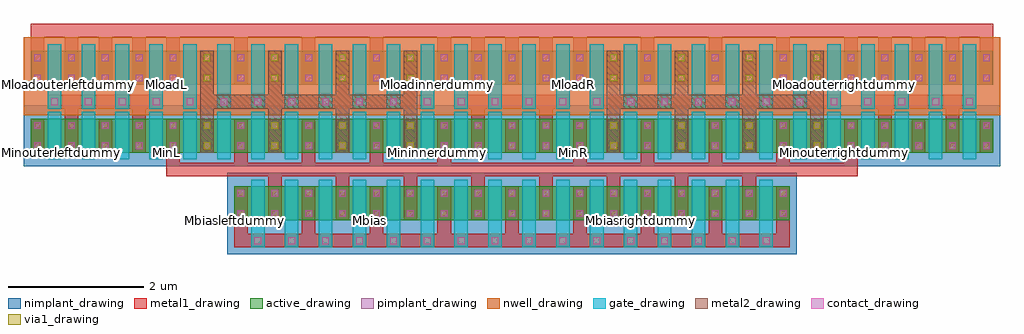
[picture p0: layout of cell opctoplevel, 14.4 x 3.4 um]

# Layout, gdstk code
import gdstk
lib = gdstk.Library(unit=1e-6, precision=1e-09)
def R(c, l, rs):  # rectangles x0, y0, x1, y1
    for r in rs: c.add(gdstk.rectangle(r[:2], r[2:], *l))
def A(c, l, x, y, w, h, nx, ny, dx, dy):  # array of equal rectangles
    R(c, l, [(x+i*dx, y+j*dy, x+i*dx+w, y+j*dy+h) for i in range(nx) for j in range(ny)])
active_drawing = (1, 0)
nwell_drawing = (3, 0)
pimplant_drawing = (4, 0)
nimplant_drawing = (5, 0)
gate_drawing = (6, 0)
contact_drawing = (7, 0)
metal1_drawing = (8, 0)
via1_drawing = (9, 0)
metal2_drawing = (10, 0)

opctoplevel = lib.new_cell('opctoplevel')
A(opctoplevel, active_drawing, -3.25, 1, 2.2, 0.5, 3, 2, 6, 1)
R(opctoplevel, active_drawing, [(-0.25,0,1.95,0.5), (1.75,0,5.95,0.5), (5.75,0,7.95,0.5), (-1.25,1,2.95,1.5), (4.75,1,8.95,1.5), (-1.25,2,2.95,2.5), (4.75,2,8.95,2.5)])
A(opctoplevel, nwell_drawing, -3.35, 1.55, 2.4, 1.15, 3, 1, 6, 0)
R(opctoplevel, nwell_drawing, [(-1.35,1.55,3.05,2.7), (4.65,1.55,9.05,2.7)])
A(opctoplevel, pimplant_drawing, -3.35, 1.55, 2.4, 1.15, 3, 1, 6, 0)
R(opctoplevel, pimplant_drawing, [(-1.35,1.55,3.05,2.7), (4.65,1.55,9.05,2.7)])
A(opctoplevel, nimplant_drawing, -3.35, 0.8, 2.4, 0.9, 3, 1, 6, 0)
R(opctoplevel, nimplant_drawing, [(-0.35,-0.5,2.05,0.7), (1.65,-0.5,6.05,0.7), (5.65,-0.5,8.05,0.7), (-1.35,0.8,3.05,1.7), (4.65,0.8,9.05,1.7)])
A(opctoplevel, gate_drawing, 0, -0.4, 0.2, 1, 16, 1, 0.5, 0)
A(opctoplevel, gate_drawing, -3, 0.9, 0.2, 0.7, 28, 1, 0.5, 0)
A(opctoplevel, gate_drawing, -3, 1.65, 0.2, 0.95, 28, 1, 0.5, 0)
A(opctoplevel, contact_drawing, 0.05, -0.35, 0.1, 0.1, 16, 1, 0.5, 0)
A(opctoplevel, contact_drawing, -0.2, 0.05, 0.1, 0.1, 5, 2, 0.5, 0.3)
A(opctoplevel, contact_drawing, 1.8, 0.05, 0.1, 0.1, 9, 2, 0.5, 0.3)
A(opctoplevel, contact_drawing, 5.8, 0.05, 0.1, 0.1, 5, 2, 0.5, 0.3)
A(opctoplevel, contact_drawing, -3.2, 1.05, 0.1, 0.1, 5, 2, 0.5, 0.3)
A(opctoplevel, contact_drawing, -1.2, 1.05, 0.1, 0.1, 9, 2, 0.5, 0.3)
A(opctoplevel, contact_drawing, 2.8, 1.05, 0.1, 0.1, 5, 2, 0.5, 0.3)
A(opctoplevel, contact_drawing, 4.8, 1.05, 0.1, 0.1, 9, 2, 0.5, 0.3)
A(opctoplevel, contact_drawing, 8.8, 1.05, 0.1, 0.1, 5, 2, 0.5, 0.3)
A(opctoplevel, contact_drawing, -2.95, 1.7, 0.1, 0.1, 28, 1, 0.5, 0)
A(opctoplevel, contact_drawing, -3.2, 2.05, 0.1, 0.1, 5, 2, 0.5, 0.3)
A(opctoplevel, contact_drawing, -1.2, 2.05, 0.1, 0.1, 9, 2, 0.5, 0.3)
A(opctoplevel, contact_drawing, 2.8, 2.05, 0.1, 0.1, 5, 2, 0.5, 0.3)
A(opctoplevel, contact_drawing, 4.8, 2.05, 0.1, 0.1, 9, 2, 0.5, 0.3)
A(opctoplevel, contact_drawing, 8.8, 2.05, 0.1, 0.1, 5, 2, 0.5, 0.3)
A(opctoplevel, metal1_drawing, -0.25, -0.2, 0.2, 0.2, 3, 1, 1, 0)
A(opctoplevel, metal1_drawing, 1.75, -0.2, 0.2, 0.2, 5, 1, 1, 0)
A(opctoplevel, metal1_drawing, 5.75, -0.2, 0.2, 0.2, 3, 1, 1, 0)
A(opctoplevel, metal1_drawing, -0.25, 0, 0.2, 0.5, 5, 1, 0.5, 0)
A(opctoplevel, metal1_drawing, 1.75, 0, 0.2, 0.5, 9, 1, 0.5, 0)
A(opctoplevel, metal1_drawing, 5.75, 0, 0.2, 0.5, 5, 1, 0.5, 0)
A(opctoplevel, metal1_drawing, 0.25, 0.5, 0.2, 0.15, 8, 1, 1, 0)
A(opctoplevel, metal1_drawing, -1.25, 0.85, 0.2, 0.15, 5, 1, 1, 0)
A(opctoplevel, metal1_drawing, 4.75, 0.85, 0.2, 0.15, 5, 1, 1, 0)
A(opctoplevel, metal1_drawing, -3.25, 1, 0.2, 0.5, 5, 2, 0.5, 1)
A(opctoplevel, metal1_drawing, -1.25, 1, 0.2, 0.5, 9, 2, 0.5, 1)
A(opctoplevel, metal1_drawing, 2.75, 1, 0.2, 0.5, 5, 2, 0.5, 1)
A(opctoplevel, metal1_drawing, 4.75, 1, 0.2, 0.5, 9, 2, 0.5, 1)
A(opctoplevel, metal1_drawing, 8.75, 1, 0.2, 0.5, 5, 2, 0.5, 1)
A(opctoplevel, metal1_drawing, -3, 1.65, 1.7, 0.2, 3, 1, 6, 0)
A(opctoplevel, metal1_drawing, -2.75, 1.65, 1.2, 0.2, 3, 2, 6, 1.05)
A(opctoplevel, metal1_drawing, -0.75, 1.85, 0.2, 0.15, 4, 1, 1, 0)
A(opctoplevel, metal1_drawing, -3.25, 2.5, 0.2, 0.2, 5, 1, 0.5, 0)
A(opctoplevel, metal1_drawing, -1.25, 2.5, 0.2, 0.2, 5, 1, 1, 0)
A(opctoplevel, metal1_drawing, 2.75, 2.5, 0.2, 0.2, 5, 1, 0.5, 0)
A(opctoplevel, metal1_drawing, 4.75, 2.5, 0.2, 0.2, 5, 1, 1, 0)
A(opctoplevel, metal1_drawing, 8.75, 2.5, 0.2, 0.2, 5, 1, 0.5, 0)
A(opctoplevel, metal1_drawing, -3.25, 2.7, 2.2, 0.2, 3, 1, 6, 0)
R(opctoplevel, metal1_drawing, [(-0.25,-0.4,1.95,-0.2), (0,-0.4,1.7,-0.2), (1.75,-0.4,5.95,-0.2), (2,-0.4,5.7,-0.2), (5.75,-0.4,7.95,-0.2), (6,-0.4,7.7,-0.2), (-1.25,0.65,2.95,0.85), (0.25,0.65,1.45,0.85), (2.25,0.65,5.45,0.85), (4.75,0.65,8.95,0.85), (6.25,0.65,7.45,0.85), (-2.75,1.5,-2.55,1.65), (-1.75,1.5,-1.55,1.65), (3.25,1.5,3.45,1.65), (4.25,1.5,4.45,1.65), (9.25,1.5,9.45,1.65), (10.25,1.5,10.45,1.65), (-1,1.65,2.7,1.85), (5,1.65,8.7,1.85), (-1.25,2.7,2.95,2.9), (4.75,2.7,8.95,2.9)])
A(opctoplevel, via1_drawing, -0.7, 1.05, 0.1, 0.1, 4, 2, 1, 0.3)
A(opctoplevel, via1_drawing, 5.3, 1.05, 0.1, 0.1, 4, 2, 1, 0.3)
A(opctoplevel, via1_drawing, -0.7, 2.05, 0.1, 0.1, 4, 2, 1, 0.3)
A(opctoplevel, via1_drawing, 5.3, 2.05, 0.1, 0.1, 4, 2, 1, 0.3)
A(opctoplevel, metal2_drawing, -0.75, 1, 0.2, 0.5, 4, 2, 1, 1)
A(opctoplevel, metal2_drawing, 5.25, 1, 0.2, 0.5, 4, 2, 1, 1)
A(opctoplevel, metal2_drawing, -0.75, 1.5, 0.2, 0.15, 4, 2, 1, 0.35)
A(opctoplevel, metal2_drawing, 5.25, 1.5, 0.2, 0.15, 4, 2, 1, 0.35)
R(opctoplevel, metal2_drawing, [(-0.75,1.65,2.45,1.85), (-0.75,1.65,2.45,1.85), (5.25,1.65,8.45,1.85), (5.25,1.65,8.45,1.85)])
opctoplevel.add(gdstk.Label('Mbiasleftdummy', (-0.25,0), layer=234, texttype=0))
opctoplevel.add(gdstk.Label('Mbias', (1.75,0), layer=234, texttype=0))
opctoplevel.add(gdstk.Label('Mbiasrightdummy', (5.75,0), layer=234, texttype=0))
opctoplevel.add(gdstk.Label('Minouterleftdummy', (-3.25,1), layer=234, texttype=0))
opctoplevel.add(gdstk.Label('MinL', (-1.25,1), layer=234, texttype=0))
opctoplevel.add(gdstk.Label('Mininnerdummy', (2.75,1), layer=234, texttype=0))
opctoplevel.add(gdstk.Label('MinR', (4.75,1), layer=234, texttype=0))
opctoplevel.add(gdstk.Label('Minouterrightdummy', (8.75,1), layer=234, texttype=0))
opctoplevel.add(gdstk.Label('Mloadouterleftdummy', (-3.25,2), layer=234, texttype=0))
opctoplevel.add(gdstk.Label('MloadL', (-1.25,2), layer=234, texttype=0))
opctoplevel.add(gdstk.Label('Mloadinnerdummy', (2.75,2), layer=234, texttype=0))
opctoplevel.add(gdstk.Label('MloadR', (4.75,2), layer=234, texttype=0))
opctoplevel.add(gdstk.Label('Mloadouterrightdummy', (8.75,2), layer=234, texttype=0))

lib.write_gds('opctoplevel.gds')
